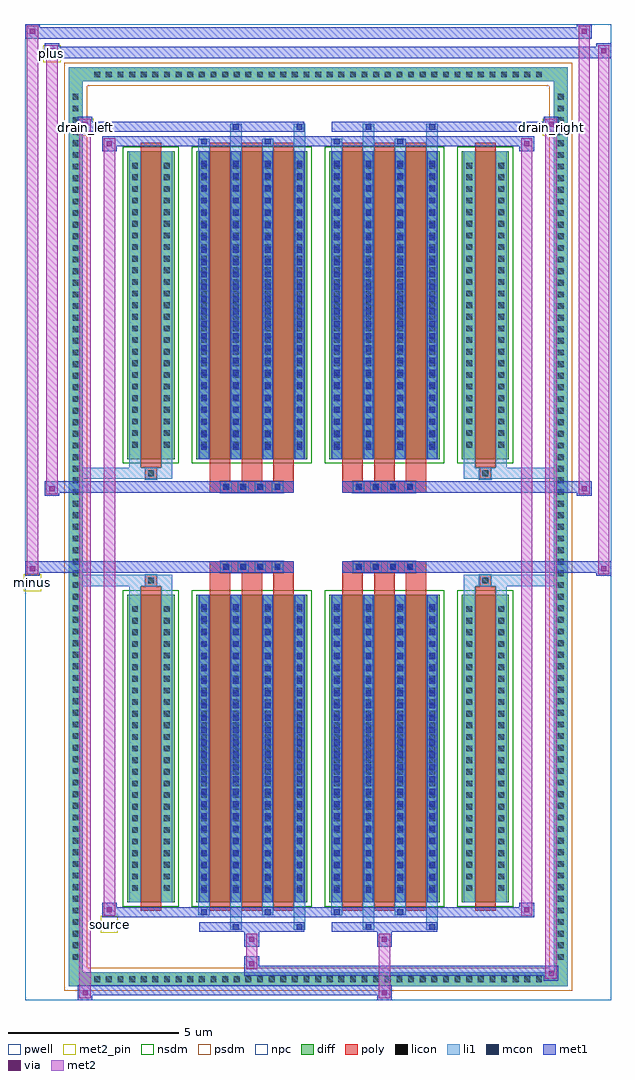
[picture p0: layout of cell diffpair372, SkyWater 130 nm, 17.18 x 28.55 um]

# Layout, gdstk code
import gdstk
lib = gdstk.Library(unit=1e-6, precision=5e-09)
def R(c, l, rs):  # rectangles x0, y0, x1, y1
    for r in rs: c.add(gdstk.rectangle(r[:2], r[2:], *l))
def A(c, l, x, y, w, h, nx, ny, dx, dy):  # array of equal rectangles
    R(c, l, [(x+i*dx, y+j*dy, x+i*dx+w, y+j*dy+h) for i in range(nx) for j in range(ny)])
def P(c, l, *ps):  # polygons
    for p in ps: c.add(gdstk.Polygon(p, *l))
pwell = (64, 44)
diff = (65, 20)
poly = (66, 20)
licon = (66, 44)
li1 = (67, 20)
mcon = (67, 44)
met1 = (68, 20)
via = (68, 44)
met2_pin = (69, 16)
met2 = (69, 20)
nsdm = (93, 44)
psdm = (94, 20)
npc = (95, 20)

diffpair372 = lib.new_cell('diffpair372')
R(diffpair372, pwell, [(-8.57,-13.84,8.57,14.71), (-5.89,-12.03,-0.01,-0.805), (0.01,-12.03,5.89,-0.805), (-5.89,0.805,-0.01,12.03), (0.01,0.805,5.89,12.03)])
A(diffpair372, diff, -6.665, -13.44, 0.41, 0.41, 39, 2, 0.34, 26.47)
A(diffpair372, diff, -7.3, -12.785, 0.41, 0.41, 1, 75, 0, 0.34)
A(diffpair372, diff, 6.89, -12.785, 0.41, 0.41, 1, 75, 0, 0.34)
R(diffpair372, diff, [(-6.665,-13.44,6.665,-13.03), (-7.3,-12.785,-6.89,12.785), (6.89,-12.785,7.3,12.785), (-5.58,-10.985,-4.2,-1.985), (-3.56,-10.985,-0.32,-1.985), (0.32,-10.985,3.56,-1.985), (4.2,-10.985,5.58,-1.985), (-5.58,1.985,-4.2,10.985), (-3.56,1.985,-0.32,10.985), (0.32,1.985,3.56,10.985), (4.2,1.985,5.58,10.985), (-6.665,13.03,6.665,13.44)])
P(diffpair372, diff, [(7.3,13.44),(-7.3,13.44),(-7.3,-13.03),(-6.89,-13.03),(-6.89,13.03),(6.89,13.03),(6.89,-13.03),(-6.89,-13.03),(-7.3,-13.03),(-7.3,-13.44),(7.3,-13.44)])
A(diffpair372, poly, -3.17, -11.235, 0.6, 9.5, 3, 2, 0.93, 12.97)
A(diffpair372, poly, 0.71, -11.235, 0.6, 9.5, 3, 2, 0.93, 12.97)
A(diffpair372, poly, -3.17, -1.735, 0.6, 0.4, 3, 2, 0.93, 3.07)
A(diffpair372, poly, 0.71, -1.735, 0.6, 0.4, 3, 2, 0.93, 3.07)
A(diffpair372, poly, -2.855, -1.335, 0.33, 0.33, 4, 2, 0.5, 2.34)
A(diffpair372, poly, 1.025, -1.335, 0.33, 0.33, 4, 2, 0.5, 2.34)
R(diffpair372, poly, [(-5.19,-11.235,-4.59,-1.735), (4.59,-11.235,5.19,-1.735), (-5.055,-1.735,-4.725,-1.405), (-5.055,-1.735,-4.725,-1.405), (4.725,-1.735,5.055,-1.405), (4.725,-1.735,5.055,-1.405), (-3.17,-1.335,-0.71,-1.005), (0.71,-1.335,3.17,-1.005), (-3.17,1.005,-0.71,1.335), (0.71,1.005,3.17,1.335), (-5.055,1.405,-4.725,1.735), (-5.055,1.405,-4.725,1.735), (4.725,1.405,5.055,1.735), (4.725,1.405,5.055,1.735), (-5.19,1.735,-4.59,11.235), (4.59,1.735,5.19,11.235)])
A(diffpair372, licon, -6.545, -13.32, 0.17, 0.17, 39, 2, 0.34, 26.47)
A(diffpair372, licon, -7.18, -12.665, 0.17, 0.17, 1, 75, 0, 0.34)
A(diffpair372, licon, 7.01, -12.665, 0.17, 0.17, 1, 75, 0, 0.34)
A(diffpair372, licon, -5.44, -10.65, 0.17, 0.17, 1, 25, 0, 0.34)
A(diffpair372, licon, -4.51, -10.65, 0.17, 0.17, 1, 25, 0, 0.34)
A(diffpair372, licon, -3.42, -10.65, 0.17, 0.17, 4, 25, 0.93, 0.34)
A(diffpair372, licon, 0.46, -10.65, 0.17, 0.17, 4, 25, 0.93, 0.34)
A(diffpair372, licon, 4.34, -10.65, 0.17, 0.17, 1, 25, 0, 0.34)
A(diffpair372, licon, 5.27, -10.65, 0.17, 0.17, 1, 25, 0, 0.34)
A(diffpair372, licon, -2.775, -1.255, 0.17, 0.17, 4, 2, 0.5, 2.34)
A(diffpair372, licon, 1.105, -1.255, 0.17, 0.17, 4, 2, 0.5, 2.34)
A(diffpair372, licon, -5.44, 2.32, 0.17, 0.17, 1, 25, 0, 0.34)
A(diffpair372, licon, -4.51, 2.32, 0.17, 0.17, 1, 25, 0, 0.34)
A(diffpair372, licon, -3.42, 2.32, 0.17, 0.17, 4, 25, 0.93, 0.34)
A(diffpair372, licon, 0.46, 2.32, 0.17, 0.17, 4, 25, 0.93, 0.34)
A(diffpair372, licon, 4.34, 2.32, 0.17, 0.17, 1, 25, 0, 0.34)
A(diffpair372, licon, 5.27, 2.32, 0.17, 0.17, 1, 25, 0, 0.34)
R(diffpair372, licon, [(-4.975,-1.655,-4.805,-1.485), (4.805,-1.655,4.975,-1.485), (-4.975,1.485,-4.805,1.655), (4.805,1.485,4.975,1.655)])
A(diffpair372, li1, -6.625, -13.4, 0.33, 0.33, 39, 2, 0.34, 26.47)
A(diffpair372, li1, -7.26, -12.745, 0.33, 0.33, 1, 75, 0, 0.34)
A(diffpair372, li1, 6.93, -12.745, 0.33, 0.33, 1, 75, 0, 0.34)
A(diffpair372, li1, -3.5, -10.985, 0.33, 9, 4, 2, 0.93, 12.97)
A(diffpair372, li1, 0.38, -10.985, 0.33, 9, 4, 2, 0.93, 12.97)
A(diffpair372, li1, -5.52, -10.73, 0.33, 0.33, 1, 25, 0, 0.34)
A(diffpair372, li1, -4.59, -10.73, 0.33, 0.33, 1, 25, 0, 0.34)
A(diffpair372, li1, -3.5, -10.73, 0.33, 0.33, 4, 25, 0.93, 0.34)
A(diffpair372, li1, 0.38, -10.73, 0.33, 0.33, 4, 25, 0.93, 0.34)
A(diffpair372, li1, 4.26, -10.73, 0.33, 0.33, 1, 25, 0, 0.34)
A(diffpair372, li1, 5.19, -10.73, 0.33, 0.33, 1, 25, 0, 0.34)
A(diffpair372, li1, -3.42, -10.71, 0.17, 0.17, 4, 24, 0.93, 0.36)
A(diffpair372, li1, -3.42, -10.71, 0.17, 8.45, 4, 2, 0.93, 12.97)
A(diffpair372, li1, 0.46, -10.71, 0.17, 0.17, 4, 24, 0.93, 0.36)
A(diffpair372, li1, 0.46, -10.71, 0.17, 8.45, 4, 2, 0.93, 12.97)
A(diffpair372, li1, -2.855, -1.335, 0.33, 0.33, 4, 2, 0.5, 2.34)
A(diffpair372, li1, 1.025, -1.335, 0.33, 0.33, 4, 2, 0.5, 2.34)
A(diffpair372, li1, -5.52, 2.24, 0.33, 0.33, 1, 25, 0, 0.34)
A(diffpair372, li1, -4.59, 2.24, 0.33, 0.33, 1, 25, 0, 0.34)
A(diffpair372, li1, -3.5, 2.24, 0.33, 0.33, 4, 25, 0.93, 0.34)
A(diffpair372, li1, 0.38, 2.24, 0.33, 0.33, 4, 25, 0.93, 0.34)
A(diffpair372, li1, 4.26, 2.24, 0.33, 0.33, 1, 25, 0, 0.34)
A(diffpair372, li1, 5.19, 2.24, 0.33, 0.33, 1, 25, 0, 0.34)
A(diffpair372, li1, -3.42, 2.26, 0.17, 0.17, 4, 24, 0.93, 0.36)
A(diffpair372, li1, 0.46, 2.26, 0.17, 0.17, 4, 24, 0.93, 0.36)
R(diffpair372, li1, [(-7.3,-13.44,-6.89,-13.03), (-7.3,-13.44,-6.89,-13.03), (-6.89,-13.44,6.89,-13.03), (6.89,-13.44,7.3,-13.03), (6.89,-13.44,7.3,-13.03), (-7.3,-13.03,-6.89,13.03), (6.89,-13.03,7.3,13.03), (-2.57,-11.79,-2.24,-10.985), (-2.49,-11.79,-2.32,-11.62), (-0.71,-11.79,-0.38,-10.985), (-0.63,-11.79,-0.46,-11.62), (1.31,-11.79,1.64,-10.985), (1.39,-11.79,1.56,-11.62), (3.17,-11.79,3.5,-10.985), (3.25,-11.79,3.42,-11.62), (-3.5,-11.36,-3.17,-10.985), (-3.42,-11.36,-3.25,-11.19), (-1.64,-11.36,-1.31,-10.985), (-1.56,-11.36,-1.39,-11.19), (0.38,-11.36,0.71,-10.985), (0.46,-11.36,0.63,-11.19), (2.24,-11.36,2.57,-10.985), (2.32,-11.36,2.49,-11.19), (-5.52,-10.985,-5.19,-1.985), (-4.59,-10.985,-4.26,-1.985), (4.26,-10.985,4.59,-1.985), (5.19,-10.985,5.52,-1.985), (-5.52,-1.985,-5.19,-1.405), (-4.59,-1.985,-4.26,-1.405), (4.26,-1.985,4.59,-1.405), (5.19,-1.985,5.52,-1.405), (-7.3,-1.735,-5.055,-1.405), (-5.52,-1.735,-5.055,-1.405), (-5.055,-1.735,-4.725,-1.405), (-4.725,-1.735,-4.26,-1.405), (4.26,-1.735,4.725,-1.405), (4.725,-1.735,5.055,-1.405), (4.725,-1.735,7.3,-1.405), (5.055,-1.735,5.52,-1.405), (-7.3,1.405,-5.055,1.735), (-5.52,1.405,-5.055,1.735), (-5.52,1.405,-5.19,1.985), (-5.055,1.405,-4.725,1.735), (-4.725,1.405,-4.26,1.735), (-4.59,1.405,-4.26,1.985), (4.26,1.405,4.725,1.735), (4.26,1.405,4.59,1.985), (4.725,1.405,5.055,1.735), (4.725,1.405,7.3,1.735), (5.055,1.405,5.52,1.735), (5.19,1.405,5.52,1.985), (-5.52,1.985,-5.19,10.985), (-4.59,1.985,-4.26,10.985), (4.26,1.985,4.59,10.985), (5.19,1.985,5.52,10.985), (-3.5,10.985,-3.17,11.36), (-2.57,10.985,-2.24,11.79), (-1.64,10.985,-1.31,11.36), (-0.71,10.985,-0.38,11.79), (0.38,10.985,0.71,11.36), (1.31,10.985,1.64,11.79), (2.24,10.985,2.57,11.36), (3.17,10.985,3.5,11.79), (-3.42,11.19,-3.25,11.36), (-1.56,11.19,-1.39,11.36), (0.46,11.19,0.63,11.36), (2.32,11.19,2.49,11.36), (-2.49,11.62,-2.32,11.79), (-0.63,11.62,-0.46,11.79), (1.39,11.62,1.56,11.79), (3.25,11.62,3.42,11.79), (-7.3,13.03,-6.89,13.44), (-7.3,13.03,-6.89,13.44), (-6.89,13.03,6.89,13.44), (6.89,13.03,7.3,13.44), (6.89,13.03,7.3,13.44)])
A(diffpair372, mcon, -3.42, -10.71, 0.17, 0.17, 4, 24, 0.93, 0.36)
A(diffpair372, mcon, 0.46, -10.71, 0.17, 0.17, 4, 24, 0.93, 0.36)
A(diffpair372, mcon, -2.775, -1.255, 0.17, 0.17, 4, 2, 0.5, 2.34)
A(diffpair372, mcon, 1.105, -1.255, 0.17, 0.17, 4, 2, 0.5, 2.34)
A(diffpair372, mcon, -3.42, 2.26, 0.17, 0.17, 4, 24, 0.93, 0.36)
A(diffpair372, mcon, 0.46, 2.26, 0.17, 0.17, 4, 24, 0.93, 0.36)
R(diffpair372, mcon, [(-2.49,-11.79,-2.32,-11.62), (-0.63,-11.79,-0.46,-11.62), (1.39,-11.79,1.56,-11.62), (3.25,-11.79,3.42,-11.62), (-3.42,-11.36,-3.25,-11.19), (-1.56,-11.36,-1.39,-11.19), (0.46,-11.36,0.63,-11.19), (2.32,-11.36,2.49,-11.19), (-3.42,11.19,-3.25,11.36), (-1.56,11.19,-1.39,11.36), (0.46,11.19,0.63,11.36), (2.32,11.19,2.49,11.36), (-2.49,11.62,-2.32,11.79), (-0.63,11.62,-0.46,11.79), (1.39,11.62,1.56,11.79), (3.25,11.62,3.42,11.79)])
A(diffpair372, met1, -3.48, -10.985, 0.29, 9, 4, 2, 0.93, 12.97)
A(diffpair372, met1, 0.4, -10.985, 0.29, 9, 4, 2, 0.93, 12.97)
A(diffpair372, met1, -3.48, -10.77, 0.29, 0.29, 4, 24, 0.93, 0.36)
A(diffpair372, met1, 0.4, -10.77, 0.29, 0.29, 4, 24, 0.93, 0.36)
A(diffpair372, met1, -2.835, -1.315, 0.29, 0.29, 4, 2, 0.5, 2.34)
A(diffpair372, met1, 1.045, -1.315, 0.29, 0.29, 4, 2, 0.5, 2.34)
A(diffpair372, met1, -3.48, 2.2, 0.29, 0.29, 4, 24, 0.93, 0.36)
A(diffpair372, met1, 0.4, 2.2, 0.29, 0.29, 4, 24, 0.93, 0.36)
R(diffpair372, met1, [(-7.03,-13.84,-6.6,-13.41), (1.725,-13.84,2.155,-13.41), (-7.03,-13.7,2.155,-13.41), (6.6,-13.27,7.03,-12.84), (-2.155,-13.13,7.03,-12.84), (-2.155,-12.99,-1.725,-12.56), (-2.155,-12.28,-1.725,-11.85), (1.725,-12.28,2.155,-11.85), (-3.48,-11.85,-0.4,-11.56), (-2.55,-11.85,-2.26,-11.56), (-0.69,-11.85,-0.4,-11.56), (0.4,-11.85,3.48,-11.56), (1.33,-11.85,1.62,-11.56), (3.19,-11.85,3.48,-11.56), (-6.32,-11.42,-5.89,-10.99), (-6.32,-11.42,-3.48,-11.13), (-3.48,-11.42,-3.19,-11.13), (-3.48,-11.42,-0.4,-11.13), (-1.62,-11.42,-1.33,-11.13), (-0.4,-11.42,0.4,-11.13), (0.4,-11.42,0.69,-11.13), (0.4,-11.42,3.48,-11.13), (2.26,-11.42,2.55,-11.13), (3.48,-11.42,6.32,-11.13), (5.89,-11.42,6.32,-10.99), (-8.57,-1.435,-8.14,-1.005), (8.14,-1.435,8.57,-1.005), (-8.57,-1.335,-0.71,-1.005), (-3.17,-1.335,-0.71,-1.005), (0.71,-1.335,3.17,-1.005), (0.71,-1.335,8.57,-1.005), (-8,0.905,-7.57,1.335), (7.57,0.905,8,1.335), (-8,1.005,-3.17,1.335), (-3.17,1.005,-0.71,1.335), (0.71,1.005,3.17,1.335), (3.17,1.005,8,1.335), (-6.32,10.99,-5.89,11.42), (5.89,10.99,6.32,11.42), (-6.32,11.13,-3.48,11.42), (-3.48,11.13,-3.19,11.42), (-3.48,11.13,-0.4,11.42), (-1.62,11.13,-1.33,11.42), (-0.4,11.13,0.4,11.42), (0.4,11.13,0.69,11.42), (0.4,11.13,3.48,11.42), (2.26,11.13,2.55,11.42), (3.48,11.13,6.32,11.42), (-7.03,11.56,-6.6,11.99), (-7.03,11.56,-3.48,11.85), (-3.48,11.56,-0.4,11.85), (-2.55,11.56,-2.26,11.85), (-0.69,11.56,-0.4,11.85), (0.4,11.56,3.48,11.85), (1.33,11.56,1.62,11.85), (3.19,11.56,3.48,11.85), (3.48,11.56,7.03,11.85), (6.6,11.56,7.03,11.99), (-8,13.71,-7.57,14.14), (-8,13.71,-5.89,14.04), (-5.89,13.71,5.89,14.04), (5.89,13.71,8.57,14.04), (8.14,13.71,8.57,14.14), (-8.57,14.28,-8.14,14.71), (-8.57,14.28,-5.89,14.61), (-5.89,14.28,5.89,14.61), (5.89,14.28,8,14.61), (7.57,14.28,8,14.71)])
R(diffpair372, via, [(-6.89,-13.7,-6.74,-13.55), (1.865,-13.7,2.015,-13.55), (6.74,-13.13,6.89,-12.98), (-2.015,-12.85,-1.865,-12.7), (-2.015,-12.14,-1.865,-11.99), (1.865,-12.14,2.015,-11.99), (-6.18,-11.28,-6.03,-11.13), (6.03,-11.28,6.18,-11.13), (-8.43,-1.295,-8.28,-1.145), (8.28,-1.295,8.43,-1.145), (-7.86,1.045,-7.71,1.195), (7.71,1.045,7.86,1.195), (-6.18,11.13,-6.03,11.28), (6.03,11.13,6.18,11.28), (-6.89,11.7,-6.74,11.85), (6.74,11.7,6.89,11.85), (-7.86,13.85,-7.71,14), (8.28,13.85,8.43,14), (-8.43,14.42,-8.28,14.57), (7.71,14.42,7.86,14.57)])
R(diffpair372, met2_pin, [(-6.355,-11.87,-5.855,-11.37), (-8.605,-1.885,-8.105,-1.385), (-7.065,11.44,-6.565,11.94), (6.565,11.44,7.065,11.94), (-8.035,13.59,-7.535,14.09)])
R(diffpair372, met2, [(-6.98,-13.79,-6.65,-13.46), (-6.98,-13.79,-6.65,11.94), (1.775,-13.79,2.105,-13.46), (1.775,-13.46,2.105,-12.23), (6.65,-13.22,6.98,-12.89), (6.65,-13.22,6.98,11.94), (-2.105,-12.94,-1.775,-12.61), (-2.105,-12.61,-1.775,-12.23), (-2.105,-12.23,-1.775,-11.9), (1.775,-12.23,2.105,-11.9), (-6.27,-11.37,-5.94,-11.04), (-6.27,-11.37,-5.94,11.37), (5.94,-11.37,6.27,-11.04), (5.94,-11.37,6.27,11.37), (-8.52,-1.385,-8.19,-1.055), (-8.52,-1.385,-8.19,14.66), (8.19,-1.385,8.52,-1.055), (8.19,-1.385,8.52,14.09), (-7.95,0.955,-7.62,1.285), (-7.95,0.955,-7.62,14.09), (7.62,0.955,7.95,1.285), (7.62,0.955,7.95,14.66), (-6.27,11.04,-5.94,11.37), (5.94,11.04,6.27,11.37), (-6.98,11.61,-6.65,11.94), (6.65,11.61,6.98,11.94), (-7.95,13.76,-7.62,14.09), (8.19,13.76,8.52,14.09), (-8.52,14.33,-8.19,14.66), (7.62,14.33,7.95,14.66)])
P(diffpair372, met2, [(8.52,-1.385),(8.52,-1.385),(8.52,-1.055),(8.52,-1.055)],
  [(8.52,13.76),(8.52,13.76),(8.52,14.09),(8.52,14.09)],
  [(-8.19,-1.385),(-8.19,-1.385),(-8.19,-1.055),(-8.19,-1.055)],
  [(-8.19,14.33),(-8.19,14.33),(-8.19,14.66),(-8.19,14.66)],
  [(7.95,0.955),(7.95,0.955),(7.95,1.285),(7.95,1.285)],
  [(7.95,14.33),(7.95,14.33),(7.95,14.66),(7.95,14.66)],
  [(-7.62,0.955),(-7.62,0.955),(-7.62,1.285),(-7.62,1.285)],
  [(-7.62,13.76),(-7.62,13.76),(-7.62,14.09),(-7.62,14.09)],
  [(-6.65,-13.79),(-6.65,-13.79),(-6.65,-13.46),(-6.65,-13.46)],
  [(-6.65,11.61),(-6.65,11.61),(-6.65,11.94),(-6.65,11.94)],
  [(6.98,-13.22),(6.98,-13.22),(6.98,-12.89),(6.98,-12.89)],
  [(6.98,11.61),(6.98,11.61),(6.98,11.94),(6.98,11.94)],
  [(-5.94,-11.37),(-5.94,-11.37),(-5.94,-11.04),(-5.94,-11.04)],
  [(-5.94,11.04),(-5.94,11.04),(-5.94,11.37),(-5.94,11.37)],
  [(6.27,-11.37),(6.27,-11.37),(6.27,-11.04),(6.27,-11.04)],
  [(6.27,11.04),(6.27,11.04),(6.27,11.37),(6.27,11.37)])
R(diffpair372, nsdm, [(-5.71,-11.115,-4.07,-1.855), (-3.69,-11.115,-0.19,-1.855), (0.19,-11.115,3.69,-1.855), (4.07,-11.115,5.71,-1.855), (-5.71,1.855,-4.07,11.115), (-3.69,1.855,-0.19,11.115), (0.19,1.855,3.69,11.115), (4.07,1.855,5.71,11.115)])
P(diffpair372, psdm, [(7.43,13.57),(-7.43,13.57),(-7.43,-12.9),(-6.76,-12.9),(-6.76,12.9),(6.76,12.9),(6.76,-12.9),(-6.76,-12.9),(-7.43,-12.9),(-7.43,-13.57),(7.43,-13.57)])
A(diffpair372, npc, -2.875, -1.355, 0.37, 0.37, 4, 2, 0.5, 2.34)
A(diffpair372, npc, 1.005, -1.355, 0.37, 0.37, 4, 2, 0.5, 2.34)
R(diffpair372, npc, [(-5.075,-1.755,-4.705,-1.385), (4.705,-1.755,5.075,-1.385), (-2.875,-1.355,-2.005,-0.985), (-2.875,-1.355,-2.005,-0.985), (-2.375,-1.355,-1.505,-0.985), (-2.375,-1.355,-1.505,-0.985), (-1.875,-1.355,-1.005,-0.985), (-1.875,-1.355,-1.005,-0.985), (1.005,-1.355,1.875,-0.985), (1.005,-1.355,1.875,-0.985), (1.505,-1.355,2.375,-0.985), (1.505,-1.355,2.375,-0.985), (2.005,-1.355,2.875,-0.985), (2.005,-1.355,2.875,-0.985), (-2.875,0.985,-2.005,1.355), (-2.875,0.985,-2.005,1.355), (-2.375,0.985,-1.505,1.355), (-2.375,0.985,-1.505,1.355), (-1.875,0.985,-1.005,1.355), (-1.875,0.985,-1.005,1.355), (1.005,0.985,1.875,1.355), (1.005,0.985,1.875,1.355), (1.505,0.985,2.375,1.355), (1.505,0.985,2.375,1.355), (2.005,0.985,2.875,1.355), (2.005,0.985,2.875,1.355), (-5.075,1.385,-4.705,1.755), (4.705,1.385,5.075,1.755)])
diffpair372.add(gdstk.Label('minus', (-8.355,-1.635), layer=69, texttype=5))
diffpair372.add(gdstk.Label('drain_right', (6.815,11.69), layer=69, texttype=5))
diffpair372.add(gdstk.Label('drain_left', (-6.815,11.69), layer=69, texttype=5))
diffpair372.add(gdstk.Label('source', (-6.105,-11.62), layer=69, texttype=5))
diffpair372.add(gdstk.Label('plus', (-7.785,13.84), layer=69, texttype=5))

lib.write_gds('diffpair372.gds')
